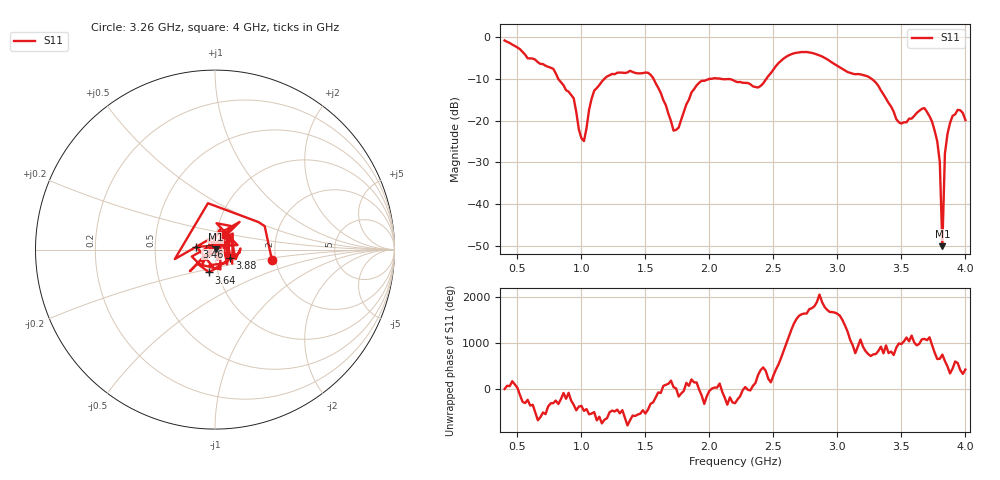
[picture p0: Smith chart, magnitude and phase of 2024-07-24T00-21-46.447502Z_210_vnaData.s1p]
!Created with skrf (http://scikit-rf.org).
# Hz S RI R 50.0
!freq ReS11 ImS11
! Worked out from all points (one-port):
!   181 points, 400 MHz to 4 GHz, reference 50 ohm
!   lowest |S11| = -50.0 dB at 3.82 GHz (marker M1), VSWR 1.01, Z = 50.3 + j0.113 ohm
!   |S11| at or under -10 dB: 819.4 MHz to 1.178 GHz (359 MHz wide, 35.9 % of centre); 1.564 GHz to 1.999 GHz (435.2 MHz wide, 24.4 % of centre); 3.268 GHz to end of sweep (the widest 3 of 4)
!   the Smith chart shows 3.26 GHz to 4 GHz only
!   S11 on the Smith chart (normalised r, x): 3.26 GHz: 1.91, -0.25; 3.46 GHz: 0.81, +0.03; 3.64 GHz: 0.91, -0.24; 3.88 GHz: 1.17, -0.11; 4 GHz: 1.11, +0.19
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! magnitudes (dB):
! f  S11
! 400 MHz  -0.8
! 780 MHz  -7.6
! 860 MHz  -11.5
! 940 MHz  -14.7
! 980 MHz  -22.1
! 1.02 GHz  -24.9
! 1.1 GHz  -12.8
! 1.3 GHz  -8.5
! 1.54 GHz  -9.0
! 1.72 GHz  -22.4
! 1.76 GHz  -21.7
! 1.92 GHz  -10.9
! 2.2 GHz  -10.5
! 2.38 GHz  -12.1
! 2.66 GHz  -3.9
! 3.1 GHz  -8.5
! 3.26 GHz  -9.8
! 3.46 GHz  -19.6
! 3.56 GHz  -19.5
! 3.64 GHz  -17.6
! 3.7 GHz  -17.9
! 3.78 GHz  -24.9
! 3.8 GHz  -29.9
! 3.82 GHz  -50.0
! 3.84 GHz  -27.9
! 3.88 GHz  -20.5
! 3.94 GHz  -17.4
! 4 GHz  -19.9
